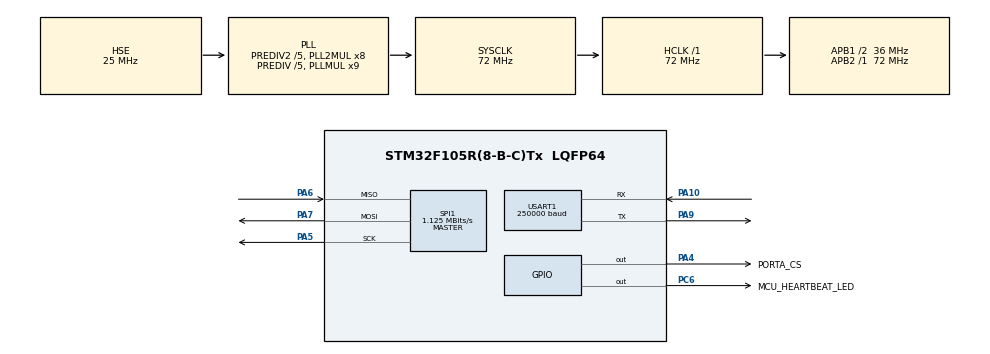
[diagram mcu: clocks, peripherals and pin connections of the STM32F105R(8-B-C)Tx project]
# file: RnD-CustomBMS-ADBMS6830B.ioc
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Mcu.Family=STM32F1
Mcu.Name=STM32F105R(8-B-C)Tx
Mcu.Package=LQFP64
NVIC.PriorityGroup=NVIC_PRIORITYGROUP_4
PA10.Mode=Asynchronous
PA10.Signal=USART1_RX
PA13.Mode=Serial_Wire
PA13.Signal=SYS_JTMS-SWDIO
PA14.Mode=Serial_Wire
PA14.Signal=SYS_JTCK-SWCLK
PA4.GPIO_Label=PORTA_CS
PA4.Signal=GPIO_Output
PA5.Mode=Full_Duplex_Master
PA5.Signal=SPI1_SCK
PA6.GPIO_PuPd=GPIO_NOPULL
PA6.Mode=Full_Duplex_Master
PA6.Signal=SPI1_MISO
PA7.Mode=Full_Duplex_Master
PA7.Signal=SPI1_MOSI
PA9.Mode=Asynchronous
PA9.Signal=USART1_TX
PC6.GPIO_Label=MCU_HEARTBEAT_LED
PC6.Signal=GPIO_Output
PD0-OSC_IN.Mode=HSE-External-Oscillator
PD0-OSC_IN.Signal=RCC_OSC_IN
PD1-OSC_OUT.Mode=HSE-External-Oscillator
PD1-OSC_OUT.Signal=RCC_OSC_OUT
ProjectManager.HeapSize=0x200
ProjectManager.StackSize=0x400
ProjectManager.TargetToolchain=STM32CubeIDE
RCC.AHBFreq_Value=72000000
RCC.APB1CLKDivider=RCC_HCLK_DIV2
RCC.APB1Freq_Value=36000000
RCC.APB1TimFreq_Value=72000000
RCC.APB2Freq_Value=72000000
RCC.APB2TimFreq_Value=72000000
RCC.HCLKFreq_Value=72000000
RCC.HSEDivPLL=RCC_HSE_PREDIV_DIV5
RCC.HSE_VALUE=25000000
RCC.PLLMUL=RCC_PLL_MUL9
RCC.PLLSourceVirtual=RCC_PLLSOURCE_HSE
RCC.Prediv1Source=RCC_PREDIV1_SOURCE_PLL2
RCC.Prediv2=RCC_HSE_PREDIV2_DIV5
RCC.SYSCLKFreq_VALUE=72000000
RCC.SYSCLKSource=RCC_SYSCLKSOURCE_PLLCLK
RCC.USBFreq_Value=48000000
SPI1.BaudRatePrescaler=SPI_BAUDRATEPRESCALER_64
SPI1.CLKPhase=SPI_PHASE_2EDGE
SPI1.CLKPolarity=SPI_POLARITY_HIGH
SPI1.CalculateBaudRate=1.125 MBits/s
SPI1.DataSize=SPI_DATASIZE_8BIT
SPI1.Direction=SPI_DIRECTION_2LINES
SPI1.Mode=SPI_MODE_MASTER
SPI1.VirtualType=VM_MASTER
USART1.BaudRate=250000
USART1.VirtualMode=VM_ASYNC
board=custom

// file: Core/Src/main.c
/* USER CODE BEGIN Header */
/**
  ******************************************************************************
  * @file           : main.c
  * @brief          : Main program body
  ******************************************************************************
  * @attention
  *
  * Copyright (c) 2025 STMicroelectronics.
  * All rights reserved.
  *
  * This software is licensed under terms that can be found in the LICENSE file
  * in the root directory of this software component.
  * If no LICENSE file comes with this software, it is provided AS-IS.
  *
  ******************************************************************************
  */
/* USER CODE END Header */
#include "main.h"

/* USER CODE BEGIN Includes */
#include "adbms.h"
#include <string.h>
#include <stdio.h>
/* USER CODE END Includes */

SPI_HandleTypeDef hspi1;

UART_HandleTypeDef huart1;

void SystemClock_Config(void);
static void MX_GPIO_Init(void);
static void MX_SPI1_Init(void);
static void MX_USART1_UART_Init(void);

int main(void)
{

  /* MCU Configuration--------------------------------------------------------*/

  /* Reset of all peripherals, Initializes the Flash interface and the Systick. */
  HAL_Init();

  /* Configure the system clock */
  SystemClock_Config();

  /* Initialize all configured peripherals */
  MX_GPIO_Init();
  MX_SPI1_Init();
  MX_USART1_UART_Init();

  /* Infinite loop */
  /* USER CODE BEGIN WHILE */
  while (1)
  {
	  BMS_wakeUpChain();
	  BMS_startCellConversions(NON_REDUNDANT_MODE, CONTINOUS_MODE, DISCHARGE_DISABLED, FILTER_RESET, CELL_OPEN_WIRE_DISABLED);
	  HAL_Delay(1);
	  BMS_readVoltages();
	  HAL_Delay(1);
	  BMS_readSerialID(); //test this first
	  printf("Hello World TESTING 1 2 3 \n");
	  HAL_GPIO_TogglePin(MCU_HEARTBEAT_LED_GPIO_Port, MCU_HEARTBEAT_LED_Pin);
	  HAL_Delay(1000);
    /* USER CODE END WHILE */

  }
}

void SystemClock_Config(void)
{
  RCC_OscInitTypeDef RCC_OscInitStruct = {0};
  RCC_ClkInitTypeDef RCC_ClkInitStruct = {0};

  /** Initializes the RCC Oscillators according to the specified parameters
  * in the RCC_OscInitTypeDef structure.
  */
  RCC_OscInitStruct.OscillatorType = RCC_OSCILLATORTYPE_HSE;
  RCC_OscInitStruct.HSEState = RCC_HSE_ON;
  RCC_OscInitStruct.HSEPredivValue = RCC_HSE_PREDIV_DIV5;
  RCC_OscInitStruct.HSIState = RCC_HSI_ON;
  RCC_OscInitStruct.Prediv1Source = RCC_PREDIV1_SOURCE_PLL2;
  RCC_OscInitStruct.PLL.PLLState = RCC_PLL_ON;
  RCC_OscInitStruct.PLL.PLLSource = RCC_PLLSOURCE_HSE;
  RCC_OscInitStruct.PLL.PLLMUL = RCC_PLL_MUL9;
  RCC_OscInitStruct.PLL2.PLL2State = RCC_PLL2_ON;
  RCC_OscInitStruct.PLL2.PLL2MUL = RCC_PLL2_MUL8;
  RCC_OscInitStruct.PLL2.HSEPrediv2Value = RCC_HSE_PREDIV2_DIV5;
  if (HAL_RCC_OscConfig(&RCC_OscInitStruct) != HAL_OK)
  {
    Error_Handler();
  }

  /** Initializes the CPU, AHB and APB buses clocks
  */
  RCC_ClkInitStruct.ClockType = RCC_CLOCKTYPE_HCLK|RCC_CLOCKTYPE_SYSCLK
                              |RCC_CLOCKTYPE_PCLK1|RCC_CLOCKTYPE_PCLK2;
  RCC_ClkInitStruct.SYSCLKSource = RCC_SYSCLKSOURCE_PLLCLK;
  RCC_ClkInitStruct.AHBCLKDivider = RCC_SYSCLK_DIV1;
  RCC_ClkInitStruct.APB1CLKDivider = RCC_HCLK_DIV2;
  RCC_ClkInitStruct.APB2CLKDivider = RCC_HCLK_DIV1;

  if (HAL_RCC_ClockConfig(&RCC_ClkInitStruct, FLASH_LATENCY_2) != HAL_OK)
  {
    Error_Handler();
  }

  /** Configure the Systick interrupt time
  */
  __HAL_RCC_PLLI2S_ENABLE();
}

static void MX_SPI1_Init(void)
{

  /* SPI1 parameter configuration*/
  hspi1.Instance = SPI1;
  hspi1.Init.Mode = SPI_MODE_MASTER;
  hspi1.Init.Direction = SPI_DIRECTION_2LINES;
  hspi1.Init.DataSize = SPI_DATASIZE_8BIT;
  hspi1.Init.CLKPolarity = SPI_POLARITY_HIGH;
  hspi1.Init.CLKPhase = SPI_PHASE_2EDGE;
  hspi1.Init.NSS = SPI_NSS_SOFT;
  hspi1.Init.BaudRatePrescaler = SPI_BAUDRATEPRESCALER_64;
  hspi1.Init.FirstBit = SPI_FIRSTBIT_MSB;
  hspi1.Init.TIMode = SPI_TIMODE_DISABLE;
  hspi1.Init.CRCCalculation = SPI_CRCCALCULATION_DISABLE;
  hspi1.Init.CRCPolynomial = 10;
  if (HAL_SPI_Init(&hspi1) != HAL_OK)
  {
    Error_Handler();
  }

}

static void MX_USART1_UART_Init(void)
{

  huart1.Instance = USART1;
  huart1.Init.BaudRate = 250000;
  huart1.Init.WordLength = UART_WORDLENGTH_8B;
  huart1.Init.StopBits = UART_STOPBITS_1;
  huart1.Init.Parity = UART_PARITY_NONE;
  huart1.Init.Mode = UART_MODE_TX_RX;
  huart1.Init.HwFlowCtl = UART_HWCONTROL_NONE;
  huart1.Init.OverSampling = UART_OVERSAMPLING_16;
  if (HAL_UART_Init(&huart1) != HAL_OK)
  {
    Error_Handler();
  }

}

static void MX_GPIO_Init(void)
{
  GPIO_InitTypeDef GPIO_InitStruct = {0};

  /* GPIO Ports Clock Enable */
  __HAL_RCC_GPIOD_CLK_ENABLE();
  __HAL_RCC_GPIOA_CLK_ENABLE();
  __HAL_RCC_GPIOC_CLK_ENABLE();

  /*Configure GPIO pin Output Level */
  HAL_GPIO_WritePin(PORTA_CS_GPIO_Port, PORTA_CS_Pin, GPIO_PIN_RESET);

  /*Configure GPIO pin Output Level */
  HAL_GPIO_WritePin(MCU_HEARTBEAT_LED_GPIO_Port, MCU_HEARTBEAT_LED_Pin, GPIO_PIN_RESET);

  /*Configure GPIO pin : PORTA_CS_Pin */
  GPIO_InitStruct.Pin = PORTA_CS_Pin;
  GPIO_InitStruct.Mode = GPIO_MODE_OUTPUT_PP;
  GPIO_InitStruct.Pull = GPIO_NOPULL;
  GPIO_InitStruct.Speed = GPIO_SPEED_FREQ_LOW;
  HAL_GPIO_Init(PORTA_CS_GPIO_Port, &GPIO_InitStruct);

  /*Configure GPIO pin : MCU_HEARTBEAT_LED_Pin */
  GPIO_InitStruct.Pin = MCU_HEARTBEAT_LED_Pin;
  GPIO_InitStruct.Mode = GPIO_MODE_OUTPUT_PP;
  GPIO_InitStruct.Pull = GPIO_NOPULL;
  GPIO_InitStruct.Speed = GPIO_SPEED_FREQ_LOW;
  HAL_GPIO_Init(MCU_HEARTBEAT_LED_GPIO_Port, &GPIO_InitStruct);

}

/* USER CODE BEGIN 4 */

static uint32_t last_tick = 0;

int _write(int file, char *ptr, int len) {					//overloading printf() for UART with DMA
    char buffer[128];
    uint32_t current_tick = HAL_GetTick(); // get current time
    uint32_t elapsed_time = current_tick - last_tick; // get difference from last time
    last_tick = current_tick; //refresh the last time

    //format timestamp and elapsed time
    int offset = snprintf(buffer, sizeof(buffer), "[+%lu ms] ", elapsed_time);

    //copy the message from printf and merge with time stamp
    int copy_len = (len < (sizeof(buffer) - offset - 1)) ? len : (sizeof(buffer) - offset - 1);
    strncpy(buffer + offset, ptr, copy_len);
    buffer[offset + copy_len] = '\0';

    //send with DMA and UART
    HAL_UART_Transmit(&huart1, (uint8_t *)buffer, strlen(buffer), 100);

    return len;
}
/* USER CODE END 4 */

void Error_Handler(void)
{
  __disable_irq();
  while (1)
  {
  }
}
